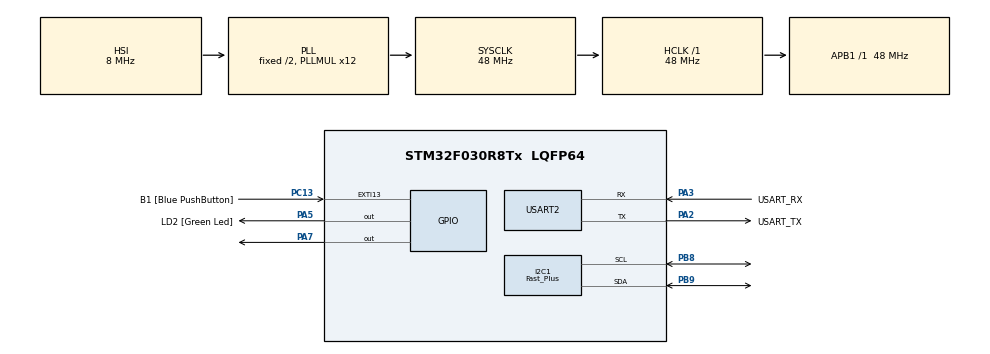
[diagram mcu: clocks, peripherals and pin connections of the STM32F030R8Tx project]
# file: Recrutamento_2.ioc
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Dma.I2C1_RX.1.Direction=DMA_PERIPH_TO_MEMORY
Dma.I2C1_RX.1.Instance=DMA1_Channel3
Dma.I2C1_RX.1.MemDataAlignment=DMA_MDATAALIGN_BYTE
Dma.I2C1_RX.1.MemInc=DMA_MINC_ENABLE
Dma.I2C1_RX.1.Mode=DMA_NORMAL
Dma.I2C1_RX.1.PeriphDataAlignment=DMA_PDATAALIGN_BYTE
Dma.I2C1_RX.1.PeriphInc=DMA_PINC_DISABLE
Dma.I2C1_RX.1.Priority=DMA_PRIORITY_LOW
Dma.I2C1_TX.2.Direction=DMA_MEMORY_TO_PERIPH
Dma.I2C1_TX.2.Instance=DMA1_Channel2
Dma.I2C1_TX.2.MemDataAlignment=DMA_MDATAALIGN_BYTE
Dma.I2C1_TX.2.MemInc=DMA_MINC_ENABLE
Dma.I2C1_TX.2.Mode=DMA_NORMAL
Dma.I2C1_TX.2.PeriphDataAlignment=DMA_PDATAALIGN_BYTE
Dma.I2C1_TX.2.PeriphInc=DMA_PINC_DISABLE
Dma.I2C1_TX.2.Priority=DMA_PRIORITY_LOW
Dma.Request0=USART2_TX
Dma.Request1=I2C1_RX
Dma.Request2=I2C1_TX
Dma.USART2_TX.0.Direction=DMA_MEMORY_TO_PERIPH
Dma.USART2_TX.0.Instance=DMA1_Channel4
Dma.USART2_TX.0.MemDataAlignment=DMA_MDATAALIGN_BYTE
Dma.USART2_TX.0.MemInc=DMA_MINC_ENABLE
Dma.USART2_TX.0.Mode=DMA_NORMAL
Dma.USART2_TX.0.PeriphDataAlignment=DMA_PDATAALIGN_BYTE
Dma.USART2_TX.0.PeriphInc=DMA_PINC_DISABLE
Dma.USART2_TX.0.Priority=DMA_PRIORITY_LOW
I2C1.I2C_Speed_Mode=I2C_Fast_Plus
I2C1.Timing=0x00000001
Mcu.Family=STM32F0
Mcu.Name=STM32F030R8Tx
Mcu.Package=LQFP64
NVIC.DMA1_Channel2_3_IRQn=true\:0\:0\:false\:false\:true\:false\:true\:true
NVIC.DMA1_Channel4_5_IRQn=true\:0\:0\:false\:false\:true\:false\:true\:true
NVIC.EXTI4_15_IRQn=true\:0\:0\:false\:false\:true\:true\:true\:true
NVIC.I2C1_IRQn=true\:0\:0\:false\:false\:true\:true\:true\:true
PA13.GPIO_Label=TMS
PA13.Mode=Serial_Wire
PA13.Signal=SYS_SWDIO
PA14.GPIO_Label=TCK
PA14.Mode=Serial_Wire
PA14.Signal=SYS_SWCLK
PA2.GPIO_Label=USART_TX
PA2.GPIO_Mode=GPIO_MODE_AF_PP
PA2.GPIO_PuPd=GPIO_NOPULL
PA2.GPIO_Speed=GPIO_SPEED_FREQ_LOW
PA2.Mode=Asynchronous
PA2.Signal=USART2_TX
PA3.GPIO_Label=USART_RX
PA3.GPIO_Mode=GPIO_MODE_AF_PP
PA3.GPIO_PuPd=GPIO_NOPULL
PA3.GPIO_Speed=GPIO_SPEED_FREQ_LOW
PA3.Mode=Asynchronous
PA3.Signal=USART2_RX
PA5.GPIO_Label=LD2 [Green Led]
PA5.GPIO_Mode=GPIO_MODE_OUTPUT_PP
PA5.GPIO_PuPd=GPIO_NOPULL
PA5.GPIO_Speed=GPIO_SPEED_FREQ_LOW
PA5.Signal=GPIO_Output
PA7.Signal=GPIO_Output
PB10.Signal=I2C2_SCL
PB8.Mode=I2C
PB8.Signal=I2C1_SCL
PB9.Mode=I2C
PB9.Signal=I2C1_SDA
PC13.GPIO_Label=B1 [Blue PushButton]
PC13.GPIO_ModeDefaultEXTI=GPIO_MODE_IT_RISING
PC13.GPIO_PuPd=GPIO_PULLUP
PC13.Signal=GPXTI13
PC14-OSC32_IN.Mode=LSE-External-Oscillator
PC14-OSC32_IN.Signal=RCC_OSC32_IN
PC15-OSC32_OUT.Mode=LSE-External-Oscillator
PC15-OSC32_OUT.Signal=RCC_OSC32_OUT
PF0-OSC_IN.Mode=HSE-External-Clock-Source
PF0-OSC_IN.Signal=RCC_OSC_IN
PF1-OSC_OUT.Signal=RCC_OSC_OUT
ProjectManager.HeapSize=0x200
ProjectManager.StackSize=0x400
ProjectManager.TargetToolchain=STM32CubeIDE
RCC.AHBFreq_Value=48000000
RCC.APB1Freq_Value=48000000
RCC.APB1TimFreq_Value=48000000
RCC.HCLKFreq_Value=48000000
RCC.PLLMUL=RCC_PLL_MUL12
RCC.SYSCLKFreq_VALUE=48000000
RCC.SYSCLKSource=RCC_SYSCLKSOURCE_PLLCLK
USART2.VirtualMode-Asynchronous=VM_ASYNC
board=NUCLEO-F030R8

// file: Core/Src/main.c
/* USER CODE BEGIN Header */
/**
  ******************************************************************************
  * @file           : main.c
  * @brief          : Main program body
  ******************************************************************************
  * @attention
  *
  * Copyright (c) 2024 STMicroelectronics.
  * All rights reserved.
  *
  * This software is licensed under terms that can be found in the LICENSE file
  * in the root directory of this software component.
  * If no LICENSE file comes with this software, it is provided AS-IS.
  *
  ******************************************************************************
  */
/* USER CODE END Header */
#include "main.h"
#include "dma.h"
#include "i2c.h"
#include "usart.h"
#include "gpio.h"

/* USER CODE BEGIN Includes */
#include "MS5607.h"
#include "LSM6DSO32.h"
#include <string.h>
#include <stdio.h>
#include "MS5607_DMA.h"
/* USER CODE END Includes */

/* USER CODE BEGIN PV */
extern DMA_HandleTypeDef hdma_usart2_tx;
extern DMA_HandleTypeDef hdma_i2c1_rx;
extern DMA_HandleTypeDef hdma_i2c1_tx;

/* USER CODE END PV */

void SystemClock_Config(void);

/* USER CODE BEGIN 0 */
#ifdef __GNUC__
#define PUTCHAR_PROTOTYPE int __io_putchar(int ch)
#else
#define PUTCHAR_PROTOTYPE int fputc(int ch, FILE *f)
#endif
PUTCHAR_PROTOTYPE {
	HAL_UART_Transmit(&huart2, (uint8_t*) &ch, 1, HAL_MAX_DELAY);
	return ch;
}
#define MS5607_ADDR 0x76 << 1

void XferCpltCallback(DMA_HandleTypeDef *hdma);

/* USER CODE END 0 */

int main(void)
{

  /* MCU Configuration--------------------------------------------------------*/

  /* Reset of all peripherals, Initializes the Flash interface and the Systick. */
  HAL_Init();

  /* Configure the system clock */
  SystemClock_Config();

  /* Initialize all configured peripherals */
  MX_GPIO_Init();
  MX_DMA_Init();
  MX_USART2_UART_Init();
  MX_I2C1_Init();
  /* USER CODE BEGIN 2 */
  struct ms5607_dev ms5607_sensor;
  ms5607_dev_init(&ms5607_sensor);
  if(ms5607_init(&ms5607_sensor)==0) {
	  while(1) {
		  HAL_GPIO_TogglePin(GPIOA, GPIO_PIN_5);
		  HAL_Delay(100);
	  }
  }
  HAL_GPIO_WritePin(GPIOA, LD2_Pin|GPIO_PIN_7, GPIO_PIN_RESET);
  LSM6DSO32_Init();

  float p;
  float t;
  int prev_time;
  int i = 0;
  int start_flag = 1;
  uint8_t read_adc[1] = {0x00};
  uint8_t ms_d2_convert[1] = {0x44};
  uint8_t ms_d1_convert[1] = {0x54};

  uint8_t raw_pressure[3];
  uint8_t raw_temp[3];

  prev_time = HAL_GetTick();

  hdma_usart2_tx.XferCpltCallback=&XferCpltCallback;
  char p_str[50];

  huart2.Instance->CR3 |= USART_CR3_DMAT;

  /* USER CODE END 2 */

  /* Infinite loop */
  /* USER CODE BEGIN WHILE */
  while (1)
  {
	i++;
	if (i == 20 || start_flag == 1) {

		if (start_flag == 0) {
		  printf(" Frequência: %lu, t: %f \r\n", 20000/(HAL_GetTick() - prev_time), t);
		  prev_time = HAL_GetTick();
		}

		// preparar temperatura
	    HAL_I2C_Master_Transmit_DMA(&hi2c1, MS5607_ADDR, ms_d1_convert, 1);

	    // pedir dados
		while (HAL_DMA_GetState(&hdma_i2c1_tx) != HAL_DMA_STATE_READY);
		HAL_Delay(2);
	    HAL_I2C_Master_Transmit_DMA(&hi2c1, MS5607_ADDR, read_adc, 1);

	    // ler dados
		while (HAL_DMA_GetState(&hdma_i2c1_tx) != HAL_DMA_STATE_READY);
		HAL_Delay(0.0000001);
	    HAL_I2C_Master_Receive_DMA(&hi2c1, MS5607_ADDR, raw_temp, 3);

	    // guardar dados
		while (HAL_DMA_GetState(&hdma_i2c1_rx) != HAL_DMA_STATE_READY);
		ms5607_sensor.D2 = (uint32_t)(raw_temp[0] << 16) | (uint32_t)(raw_temp[1] << 8) | (uint32_t)raw_temp[2];

		i = 0;
		start_flag = 0;
	}
	// preparar pressão
	HAL_I2C_Master_Transmit_DMA(ms5607_sensor.i2c_bus, MS5607_ADDR, ms_d2_convert, 1);

	// printar dados ao terminal
	sprintf(p_str, "p: %f \r\n", p);
	while (hdma_usart2_tx.State != HAL_DMA_STATE_READY);
	HAL_DMA_Start_IT(&hdma_usart2_tx, (uint32_t)p_str, (uint32_t)&huart2.Instance->TDR, 19);

	// pedir dados
	while (HAL_DMA_GetState(&hdma_i2c1_tx) != HAL_DMA_STATE_READY);
	HAL_Delay(2);
    HAL_I2C_Master_Transmit_DMA(&hi2c1, MS5607_ADDR, read_adc, 1);

    // ler dados
	while (HAL_DMA_GetState(&hdma_i2c1_tx) != HAL_DMA_STATE_READY);
	HAL_Delay(0.0000001);
    HAL_I2C_Master_Receive_DMA(&hi2c1, MS5607_ADDR, raw_pressure, 3);

    // converter pressão
	while (HAL_DMA_GetState(&hdma_i2c1_rx) != HAL_DMA_STATE_READY);
	ms5607_sensor.D1 = (uint32_t)(raw_pressure[0] << 16) | (uint32_t)(raw_pressure[1] << 8) | (uint32_t)raw_pressure[2];
	ms5607_convert(&ms5607_sensor, &p, &t);

    /* USER CODE END WHILE */

  }
}

void SystemClock_Config(void)
{
  RCC_OscInitTypeDef RCC_OscInitStruct = {0};
  RCC_ClkInitTypeDef RCC_ClkInitStruct = {0};
  RCC_PeriphCLKInitTypeDef PeriphClkInit = {0};

  /** Initializes the RCC Oscillators according to the specified parameters
  * in the RCC_OscInitTypeDef structure.
  */
  RCC_OscInitStruct.OscillatorType = RCC_OSCILLATORTYPE_HSI;
  RCC_OscInitStruct.HSIState = RCC_HSI_ON;
  RCC_OscInitStruct.HSICalibrationValue = RCC_HSICALIBRATION_DEFAULT;
  RCC_OscInitStruct.PLL.PLLState = RCC_PLL_ON;
  RCC_OscInitStruct.PLL.PLLSource = RCC_PLLSOURCE_HSI;
  RCC_OscInitStruct.PLL.PLLMUL = RCC_PLL_MUL12;
  RCC_OscInitStruct.PLL.PREDIV = RCC_PREDIV_DIV1;
  if (HAL_RCC_OscConfig(&RCC_OscInitStruct) != HAL_OK)
  {
    Error_Handler();
  }

  /** Initializes the CPU, AHB and APB buses clocks
  */
  RCC_ClkInitStruct.ClockType = RCC_CLOCKTYPE_HCLK|RCC_CLOCKTYPE_SYSCLK
                              |RCC_CLOCKTYPE_PCLK1;
  RCC_ClkInitStruct.SYSCLKSource = RCC_SYSCLKSOURCE_PLLCLK;
  RCC_ClkInitStruct.AHBCLKDivider = RCC_SYSCLK_DIV1;
  RCC_ClkInitStruct.APB1CLKDivider = RCC_HCLK_DIV1;

  if (HAL_RCC_ClockConfig(&RCC_ClkInitStruct, FLASH_LATENCY_1) != HAL_OK)
  {
    Error_Handler();
  }
  PeriphClkInit.PeriphClockSelection = RCC_PERIPHCLK_I2C1;
  PeriphClkInit.I2c1ClockSelection = RCC_I2C1CLKSOURCE_HSI;
  if (HAL_RCCEx_PeriphCLKConfig(&PeriphClkInit) != HAL_OK)
  {
    Error_Handler();
  }
}

/* USER CODE BEGIN 4 */
void XferCpltCallback(DMA_HandleTypeDef *hdma) {
}

void HAL_GPIO_EXTI_Callback(uint16_t GPIO_Pin)
{
  if(GPIO_Pin == GPIO_PIN_13) {
    HAL_GPIO_TogglePin(GPIOA, LD2_Pin);
  } else {
      __NOP();
  }
}

void ms5607_dma_request_data()
{
    uint8_t read_adc[1] = {0x00};
    HAL_I2C_Master_Transmit_DMA(&hi2c1, MS5607_ADDR, read_adc, 1);
    while (HAL_DMA_GetState(&hdma_i2c1_tx) != HAL_DMA_STATE_READY);
}
/* USER CODE END 4 */

void Error_Handler(void)
{
  __disable_irq();
  while (1)
  {
  }
}
